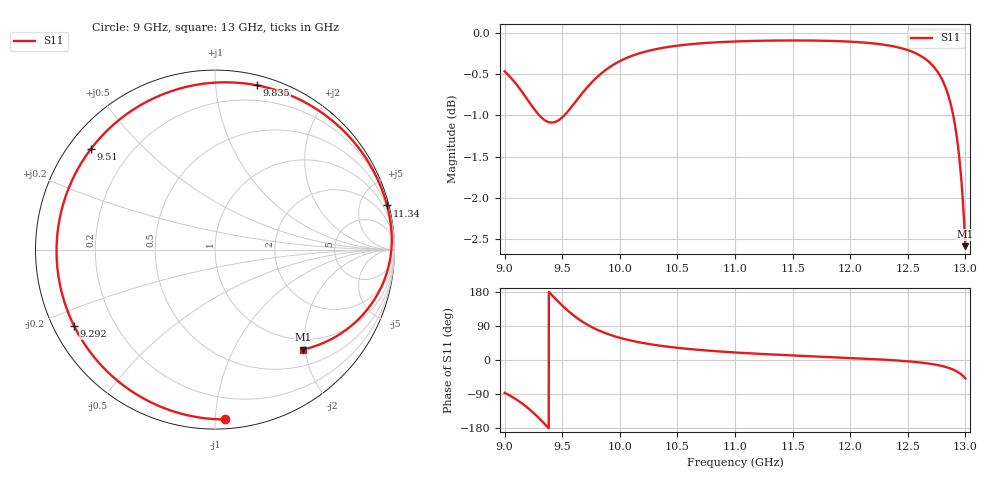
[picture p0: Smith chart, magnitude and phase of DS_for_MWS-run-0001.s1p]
! TOUCHSTONE file generated by CST DESIGN STUDIO
! Date and time: Tue Feb  4 17:05:09 2025
! Project name: C:\Work\MatlabApps\UnitCellOptimizationMatlab\CST\unitcell.cst
! Tree item: Tasks\Sweep1\SPara1\S-Parameters
! Header version: 2024
! Port assignment regex: !\s*Touchstone port\s*([0-9]+)\s*=\s*(CST MWS port|CST DES external port|CST DES block port)\s*(.+)\s* \(\"(.*)\"\)(\s*mode\s*([0-9]+))?.*
! Touchstone port assignment:
! Touchstone port 1 = CST DES external port 1 ("")
# GHz S MA R 50
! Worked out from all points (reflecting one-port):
!   4001 points, 9 GHz to 13 GHz, reference 50 ohm
!   lowest |S11| = -2.6 dB at 13 GHz (marker M1), VSWR 6.76, Z = 39.5 - j97.8 ohm
!   phase of S11 starts at -87 deg and turns -322 deg over the sweep
!   S11 on the Smith chart (normalised r, x): 9 GHz: 0.06, -1.06; 9.292 GHz: 0.06, -0.25; 9.51 GHz: 0.07, +0.35; 9.835 GHz: 0.08, +1.28; 11.34 GHz: 0.33, +7.91; 13 GHz: 0.79, -1.96
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9  0.948 -86.6
9.085  0.9341 -100.9
9.157  0.92 -115.8
9.224  0.9058 -132.4
9.292  0.8928 -151.6
9.344  0.8857 -167.6
9.394  0.8825 176.6
9.445  0.8835 160.4
9.5  0.8888 143.8
9.51  0.8902 141.0
9.579  0.9016 122.5
9.652  0.9153 105.8
9.734  0.9299 90.5
9.835  0.9447 75.7
9.914  0.9538 66.6
10  0.9616 58.6
10.101  0.9685 51.0
10.216  0.9742 44.1
10.5  0.9826 32.2
11  0.9884 19.9
11.335  0.9896 14.4
11.5  0.9898 12.0
12  0.9881 5.4
12.5  0.9765 -3.4
12.696  0.9588 -10.0
12.841  0.9214 -19.4
12.927  0.8632 -30.4
13  0.7422 -48.6
